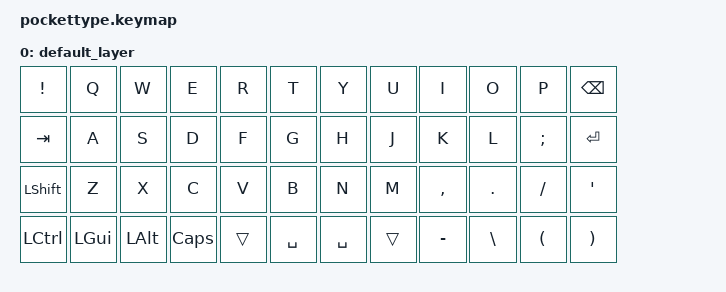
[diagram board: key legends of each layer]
/*
 * Copyright (c) 2020 The ZMK Contributors
 *
 * SPDX-License-Identifier: MIT
 */

#include <behaviors.dtsi>
#include <dt-bindings/zmk/keys.h>
#include <dt-bindings/zmk/bt.h>

/ {
	keymap {
		compatible = "zmk,keymap";

		default_layer {
			bindings = <
				&kp EXCL  &kp Q     &kp W    &kp E    &kp R  &kp T   &kp Y     &kp U  &kp I      &kp O    &kp P    &kp BSPC
				&kp TAB     &kp A     &kp S    &kp D    &kp F  &kp G   &kp H     &kp J  &kp K      &kp L    &kp SEMICOLON &kp ENTER
				&kp LSHFT   &kp Z     &kp X    &kp C    &kp V  &kp B   &kp N     &kp M  &kp COMMA  &kp DOT  &kp SLASH  &kp SINGLE_QUOTE
				&kp LCTRL   &kp LGUI  &kp LALT &kp CAPS &trans &kp SPACE &kp SPACE &trans &kp MINUS &kp BACKSLASH &kp LPAR &kp RPAR
			>;
		};
	};
};
